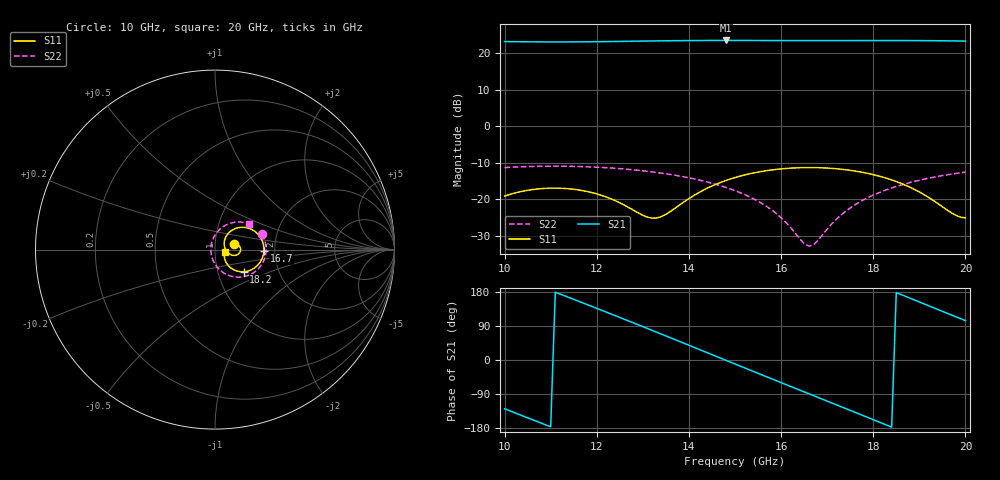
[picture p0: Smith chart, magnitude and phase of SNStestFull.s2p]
! Touchstone file from project SNStest
! Exported from Ansoft
# GHZ S MA R 50.000000
! Modal data exported
! Port[1] = Port1
! Port[2] = Port2
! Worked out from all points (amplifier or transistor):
!   101 points, 10 GHz to 20 GHz, reference 50 ohm
!   highest |S21| = 23.5 dB at 14.8 GHz (marker M1)
!   |S21| within 3 dB of that: start of sweep to end of sweep
!   S11 on the Smith chart (normalised r, x): 10 GHz: 1.23, +0.08; 16.7 GHz: 1.75, -0.03; 18.2 GHz: 1.33, -0.34; 20 GHz: 1.11, -0.03
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10  0.111 17.1  14.42 -128.7  0 0.0  0.2728 18.3
10.5  0.1333 10.4  14.31 -152.6  3.155e-18 -114.1  0.2814 9.8
10.9  0.1418 3.3  14.27 -171.5  1.158e-17 -177.6  0.2845 3.0
11.3  0.1412 -4.1  14.26 169.5  2.672e-18 99.1  0.2842 -3.7
11.7  0.1317 -11.1  14.31 150.5  6.995e-19 115.9  0.2807 -10.5
12.2  0.1083 -17.4  14.41 126.7  5.721e-18 68.2  0.2715 -19.0
12.6  0.08343 -16.9  14.52 107.4  2.861e-18 92.6  0.2605 -25.9
13  0.0606 -3.3  14.64 88.0  2.441e-18 -4.5  0.2463 -32.9
13.4  0.05811 27.9  14.75 68.5  7.504e-18 54.5  0.2289 -40.0
14.2  0.1224 50.5  14.9 29.0  3.376e-18 -31.8  0.1854 -54.9
14.8  0.1813 42.7  14.94 -0.6  4.068e-18 -34.1  0.146 -67.2
15  0.199 38.7  14.93 -10.5  2.266e-18 9.8  0.1318 -71.6
15.4  0.2298 29.9  14.92 -30.2  5.829e-18 -48.7  0.1021 -81.5
15.9  0.2575 18.0  14.89 -54.7  2.327e-18 -42.4  0.06387 -98.3
16.3  0.2697 8.1  14.87 -74.3  4.674e-18 -75.9  0.03508 -125.1
16.7  0.2725 -1.9  14.86 -93.8  6.701e-18 -91.1  0.0239 161.9
17.4  0.2548 -19.2  14.88 -128.0  4.861e-18 -123.8  0.06875 95.7
18.2  0.2023 -37.6  14.9 -167.3  5.24e-18 -151.4  0.1291 72.5
18.4  0.1848 -41.6  14.9 -177.2  2.532e-18 -155.2  0.1434 68.0
19.1  0.1166 -50.2  14.85 148.2  2.262e-18 124.8  0.1891 53.8
19.6  0.07182 -41.8  14.75 123.6  3.467e-18 151.3  0.217 44.4
20  0.05595 -14.6  14.65 103.9  1.195e-18 -7.9  0.2361 37.1
